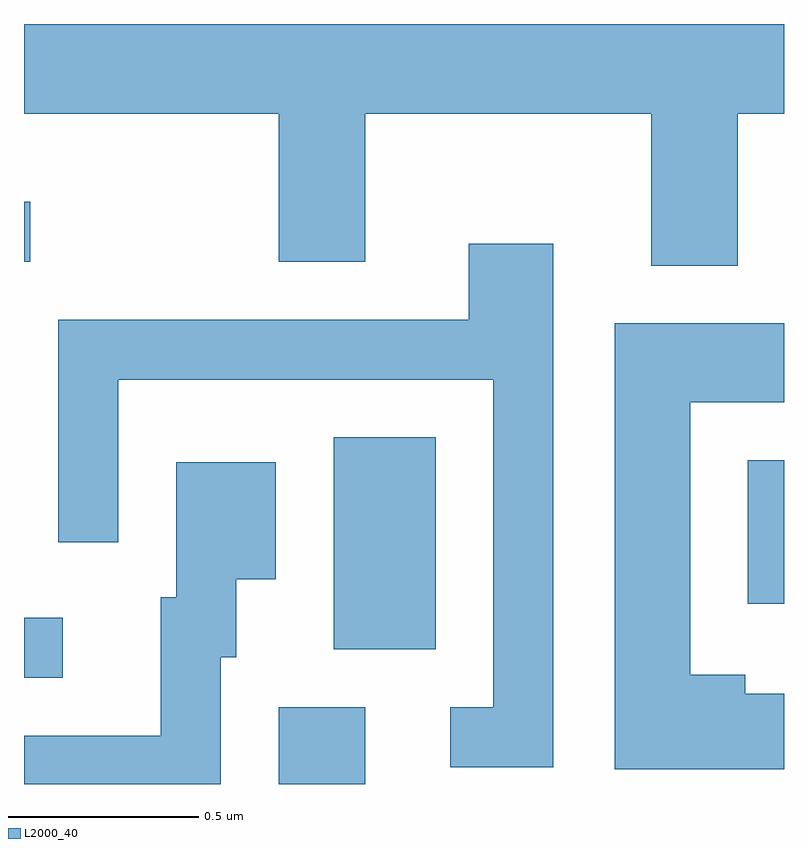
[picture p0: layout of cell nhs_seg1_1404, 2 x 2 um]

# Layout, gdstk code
import gdstk
lib = gdstk.Library(unit=1e-6, precision=1e-09)
def R(c, l, rs):  # rectangles x0, y0, x1, y1
    for r in rs: c.add(gdstk.rectangle(r[:2], r[2:], *l))
def P(c, l, *ps):  # polygons
    for p in ps: c.add(gdstk.Polygon(p, *l))
L2000_40 = (2000, 40)

nhs_seg1_1404 = lib.new_cell('nhs_seg1_1404')
R(nhs_seg1_1404, L2000_40, [(196.281,886.712,196.509,886.914), (195.611,886.991,195.713,887.149), (196.426,887.066,196.694,887.624), (197.516,887.186,197.611,887.564), (195.611,888.086,195.628,888.244)])
P(nhs_seg1_1404, L2000_40, [(197.489,888.476),(197.611,888.476),(197.611,888.712),(195.611,888.712),(195.611,888.476),(196.281,888.476),(196.281,888.086),(196.509,888.086),(196.509,888.476),(197.261,888.476),(197.261,888.076),(197.489,888.076)],
  [(197.004,888.134),(196.781,888.134),(196.781,887.934),(195.701,887.934),(195.701,887.348),(195.859,887.348),(195.859,887.776),(196.846,887.776),(196.846,886.914),(196.733,886.914),(196.733,886.756),(197.004,886.756)],
  [(197.611,886.949),(197.509,886.949),(197.509,886.999),(197.364,886.999),(197.364,887.716),(197.611,887.716),(197.611,887.924),(197.166,887.924),(197.166,886.751),(197.611,886.751)],
  [(196.129,887.046),(196.169,887.046),(196.169,887.251),(196.274,887.251),(196.274,887.559),(196.011,887.559),(196.011,887.204),(195.971,887.204),(195.971,886.839),(195.611,886.839),(195.611,886.712),(196.129,886.712)])

lib.write_gds('nhs_seg1_1404.gds')
